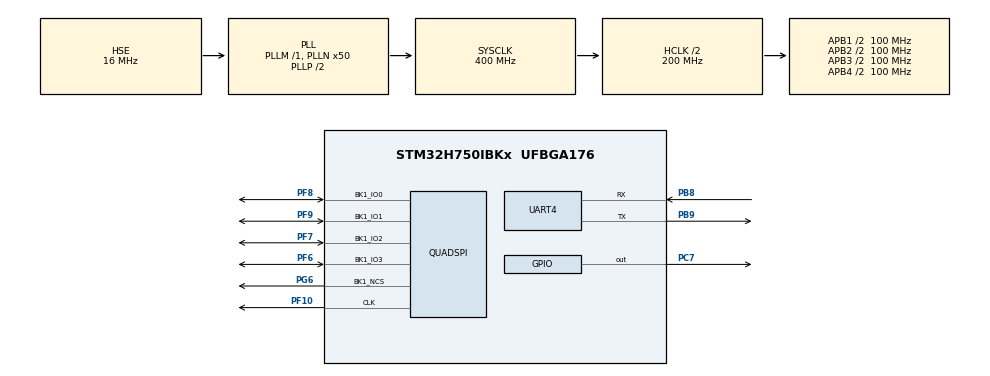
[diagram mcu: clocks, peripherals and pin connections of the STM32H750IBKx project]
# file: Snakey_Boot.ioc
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CORTEX_M7.CPU_DCache=Enabled
CORTEX_M7.CPU_ICache=Enabled
Mcu.Family=STM32H7
Mcu.Name=STM32H750IBKx
Mcu.Package=UFBGA176
NVIC.PriorityGroup=NVIC_PRIORITYGROUP_4
PB8.Mode=Asynchronous
PB8.Signal=UART4_RX
PB9.Mode=Asynchronous
PB9.Signal=UART4_TX
PC7.Signal=GPIO_Output
PF10.GPIO_Speed=GPIO_SPEED_FREQ_VERY_HIGH
PF10.Mode=Single Bank 1
PF10.Signal=QUADSPI_CLK
PF6.GPIO_Speed=GPIO_SPEED_FREQ_VERY_HIGH
PF6.Mode=Single Bank 1
PF6.Signal=QUADSPI_BK1_IO3
PF7.GPIO_Speed=GPIO_SPEED_FREQ_VERY_HIGH
PF7.Mode=Single Bank 1
PF7.Signal=QUADSPI_BK1_IO2
PF8.GPIO_Speed=GPIO_SPEED_FREQ_VERY_HIGH
PF8.Mode=Single Bank 1
PF8.Signal=QUADSPI_BK1_IO0
PF9.GPIO_Speed=GPIO_SPEED_FREQ_VERY_HIGH
PF9.Mode=Single Bank 1
PF9.Signal=QUADSPI_BK1_IO1
PG6.GPIO_Speed=GPIO_SPEED_FREQ_VERY_HIGH
PG6.Mode=Single Bank 1
PG6.Signal=QUADSPI_BK1_NCS
PH0-OSC_IN\ (PH0).Mode=HSE-External-Oscillator
PH0-OSC_IN\ (PH0).Signal=RCC_OSC_IN
PH1-OSC_OUT\ (PH1).Mode=HSE-External-Oscillator
PH1-OSC_OUT\ (PH1).Signal=RCC_OSC_OUT
ProjectManager.HeapSize=0x200
ProjectManager.StackSize=0x400
ProjectManager.TargetToolchain=STM32CubeIDE
QUADSPI.ChipSelectHighTime=QSPI_CS_HIGH_TIME_2_CYCLE
QUADSPI.ClockPrescaler=1
QUADSPI.FifoThreshold=1
QUADSPI.FlashSize=22
QUADSPI.SampleShifting=QSPI_SAMPLE_SHIFTING_HALFCYCLE
RCC.ADCFreq_Value=32250000
RCC.APB1Freq_Value=100000000
RCC.APB2Freq_Value=100000000
RCC.APB3Freq_Value=100000000
RCC.APB4Freq_Value=100000000
RCC.CortexFreq_Value=400000000
RCC.D1PPRE=RCC_APB3_DIV2
RCC.D2PPRE1=RCC_APB1_DIV2
RCC.D2PPRE2=RCC_APB2_DIV2
RCC.D3PPRE=RCC_APB4_DIV2
RCC.DIVM1=1
RCC.DIVN1=50
RCC.DIVQ1=4
RCC.HCLKFreq_Value=200000000
RCC.HPRE=RCC_HCLK_DIV2
RCC.HSE_VALUE=16000000
RCC.PLL2FRACN=0
RCC.PLL3FRACN=0
RCC.PLLFRACN=0
RCC.PLLSourceVirtual=RCC_PLLSOURCE_HSE
RCC.PWR_Regulator_Voltage_Scale=PWR_REGULATOR_VOLTAGE_SCALE0
RCC.QSPICLockSelection=RCC_QSPICLKSOURCE_PLL
RCC.SYSCLKFreq_VALUE=400000000
RCC.SYSCLKSource=RCC_SYSCLKSOURCE_PLLCLK
RCC.USBFreq_Value=200000000
board=custom

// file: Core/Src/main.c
/* USER CODE BEGIN Header */
/**
  ******************************************************************************
  * @file           : main.c
  * @brief          : Main program body
  ******************************************************************************
  * @attention
  *
  * Copyright (c) 2024 STMicroelectronics.
  * All rights reserved.
  *
  * This software is licensed under terms that can be found in the LICENSE file
  * in the root directory of this software component.
  * If no LICENSE file comes with this software, it is provided AS-IS.
  *
  ******************************************************************************
  */
/* USER CODE END Header */
#include "main.h"
#include "quadspi.h"
#include "usart.h"
#include "gpio.h"

/* USER CODE BEGIN Includes */
#include "stdio.h"
/* USER CODE END Includes */

/* USER CODE BEGIN PD */
#define APP_START_ADDRESS 0x90000000u

/* USER CODE END PD */

void SystemClock_Config(void);

/* USER CODE BEGIN 0 */

extern char *initerrorbuf;

int __io_putchar(int ch) {
	HAL_UART_Transmit(&huart4, (uint8_t*)&ch, 1, HAL_MAX_DELAY);

	return ch;
}

int __io_getchar(void) {
	uint8_t ch = 0;

	HAL_UART_Receive(&huart4, &ch, 1, HAL_MAX_DELAY);

	return ch;
}

void qspi_running_app(){

	if (CSP_QSPI_EnableMemoryMappedMode() != HAL_OK) {
	      Error_Handler();
	  }

	  SCB_DisableDCache();
	  SCB_DisableICache();

	  SysTick->CTRL = 0x0; //Disables SysTick timer and its related interrupt

	  /* We are now ready to jump to the qspi app */
	  uint32_t qspi_app_start = *((volatile uint32_t*) (APP_START_ADDRESS + 4));
	  void (*qspi_reset_handler)(void) = (void*)qspi_app_start;
	  __set_MSP(*((volatile uint32_t*) APP_START_ADDRESS)); //Set the MSP

	  qspi_reset_handler(); //We start the execution from he Reset_Handler of the qspi app
}

/* USER CODE END 0 */

int main(void)
{
/* Enable the CPU Cache */

  /* Enable I-Cache---------------------------------------------------------*/
  SCB_EnableICache();

  /* Enable D-Cache---------------------------------------------------------*/
  SCB_EnableDCache();

  /* MCU Configuration--------------------------------------------------------*/

  /* Reset of all peripherals, Initializes the Flash interface and the Systick. */
  HAL_Init();

  /* Configure the system clock */
  SystemClock_Config();

  /* Initialize all configured peripherals */
  MX_GPIO_Init();
  MX_QUADSPI_Init();
  MX_UART4_Init();
  /* USER CODE BEGIN 2 */

  CSP_QSPI_DisableMemoryMappedMode();
  CSP_QSPI_ExitQPIMODE();

  fflush(stdout);
  printf("     =^.^=  Snakey Bootloader for Daisy  =^.^=     \r\n");

  if (CSP_QUADSPI_Init() != HAL_OK) {
	  printf("-----> quad spi init error  \r\n");
	  printf("error buff:  %s  \r\n", initerrorbuf);
	  Error_Handler();
  }

  // call external flash running app -- never reaches main in this app anymore
  qspi_running_app();

  /* USER CODE END 2 */

  /* Infinite loop */
  while (1)
  {

  }
}

void SystemClock_Config(void)
{
  RCC_OscInitTypeDef RCC_OscInitStruct = {0};
  RCC_ClkInitTypeDef RCC_ClkInitStruct = {0};

  /** Supply configuration update enable
  */
  HAL_PWREx_ConfigSupply(PWR_LDO_SUPPLY);

  /** Configure the main internal regulator output voltage
  */
  __HAL_PWR_VOLTAGESCALING_CONFIG(PWR_REGULATOR_VOLTAGE_SCALE1);

  while(!__HAL_PWR_GET_FLAG(PWR_FLAG_VOSRDY)) {}

  __HAL_RCC_SYSCFG_CLK_ENABLE();
  __HAL_PWR_VOLTAGESCALING_CONFIG(PWR_REGULATOR_VOLTAGE_SCALE0);

  while(!__HAL_PWR_GET_FLAG(PWR_FLAG_VOSRDY)) {}

  /** Initializes the RCC Oscillators according to the specified parameters
  * in the RCC_OscInitTypeDef structure.
  */
  RCC_OscInitStruct.OscillatorType = RCC_OSCILLATORTYPE_HSE;
  RCC_OscInitStruct.HSEState = RCC_HSE_ON;
  RCC_OscInitStruct.PLL.PLLState = RCC_PLL_ON;
  RCC_OscInitStruct.PLL.PLLSource = RCC_PLLSOURCE_HSE;
  RCC_OscInitStruct.PLL.PLLM = 1;
  RCC_OscInitStruct.PLL.PLLN = 50;
  RCC_OscInitStruct.PLL.PLLP = 2;
  RCC_OscInitStruct.PLL.PLLQ = 4;
  RCC_OscInitStruct.PLL.PLLR = 2;
  RCC_OscInitStruct.PLL.PLLRGE = RCC_PLL1VCIRANGE_3;
  RCC_OscInitStruct.PLL.PLLVCOSEL = RCC_PLL1VCOWIDE;
  RCC_OscInitStruct.PLL.PLLFRACN = 0;
  if (HAL_RCC_OscConfig(&RCC_OscInitStruct) != HAL_OK)
  {
    Error_Handler();
  }

  /** Initializes the CPU, AHB and APB buses clocks
  */
  RCC_ClkInitStruct.ClockType = RCC_CLOCKTYPE_HCLK|RCC_CLOCKTYPE_SYSCLK
                              |RCC_CLOCKTYPE_PCLK1|RCC_CLOCKTYPE_PCLK2
                              |RCC_CLOCKTYPE_D3PCLK1|RCC_CLOCKTYPE_D1PCLK1;
  RCC_ClkInitStruct.SYSCLKSource = RCC_SYSCLKSOURCE_PLLCLK;
  RCC_ClkInitStruct.SYSCLKDivider = RCC_SYSCLK_DIV1;
  RCC_ClkInitStruct.AHBCLKDivider = RCC_HCLK_DIV2;
  RCC_ClkInitStruct.APB3CLKDivider = RCC_APB3_DIV2;
  RCC_ClkInitStruct.APB1CLKDivider = RCC_APB1_DIV2;
  RCC_ClkInitStruct.APB2CLKDivider = RCC_APB2_DIV2;
  RCC_ClkInitStruct.APB4CLKDivider = RCC_APB4_DIV2;

  if (HAL_RCC_ClockConfig(&RCC_ClkInitStruct, FLASH_LATENCY_2) != HAL_OK)
  {
    Error_Handler();
  }
}

void Error_Handler(void)
{
  __disable_irq();
  while (1)
  {
  }
}
